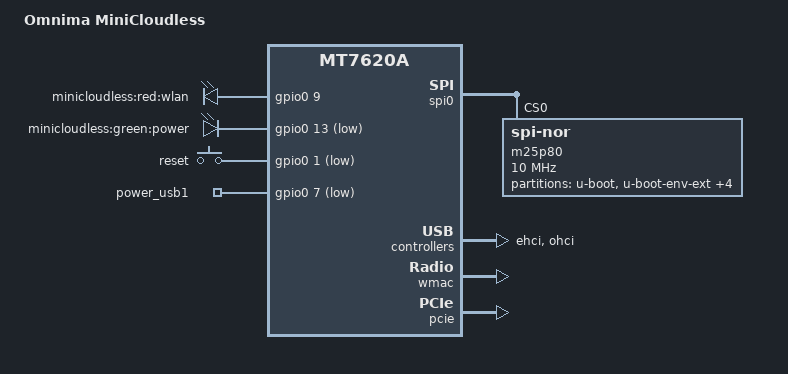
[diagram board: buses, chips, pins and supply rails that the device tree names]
/dts-v1/;

#include "mt7620a.dtsi"

#include <dt-bindings/gpio/gpio.h>
#include <dt-bindings/input/input.h>

/ {
	compatible = "minicloudless", "ralink,mt7620a-soc";
	model = "Omnima MiniCloudless";
		
	chosen {
		bootargs = "console=ttyS0,57600";
	};

	gpio-leds {
		compatible = "gpio-leds";

		wlan {
			label = "minicloudless:red:wlan";
			gpios = <&gpio0 9 GPIO_ACTIVE_HIGH>;
		};

		power {
			label = "minicloudless:green:power";
			gpios = <&gpio0 13 GPIO_ACTIVE_LOW>;
		};
	};

	gpio-keys-polled {
		compatible = "gpio-keys-polled";
		#address-cells = <1>;
		#size-cells = <0>;
		poll-interval = <20>;
		reset {
			label = "reset";
			gpios = <&gpio0 1 GPIO_ACTIVE_LOW>;
			linux,code = <KEY_RESTART>;
		};
	};
	
	gpio_export {
		compatible = "gpio-export";
		#size-cells = <0>;

		power_usb {
			gpio-export,name = "power_usb1";
			gpio-export,output = <1>;
			gpios = <&gpio0 7 GPIO_ACTIVE_LOW>;
		};
	};
};

&gpio1 {
	status = "okay";
};

&gpio2 {
	status = "okay";
};

&gpio3 {
	status = "okay";
};

&spi0 {
	status = "okay";

	m25p80@0 {
		#address-cells = <1>;
		#size-cells = <1>;
		compatible = "jedec,spi-nor";
		reg = <0>;
		spi-max-frequency = <10000000>;

		partition@0 {
			label = "u-boot";
			reg = <0x0 0x20000>;
			read-only;
		};

		partition@20000 {
			label = "u-boot-env-ext";
			reg = <0x20000 0x10000>;
		};

		partition@30000 {
			label = "u-boot-env";
			reg = <0x30000 0x2000>;
			read-only;
		};
				
		partition@32000 {
			label = "u-boot-env+ext";
			reg = <0x32000 0xE000>;
		};
				
		factory: partition@40000 {
			label = "factory";
			reg = <0x40000 0x10000>;
			read-only;
		};

		partition@50000 {
			label = "firmware";
			reg = <0x50000 0xfb0000>;
		};
	};
};

&pinctrl {
	state_default: pinctrl0 {
		default {
		ralink,group = "wled", "i2c", "wdt", "uartf", "rgmii2";
		ralink,function = "gpio";
		};
		
		pa {
			ralink,group = "pa";
			ralink,function = "pa";
		};
	};
};

&ethernet {	
	pinctrl-names = "default";
	pinctrl-0 = <&ephy_pins>;
	mtd-mac-address = <&factory 0x4>;
	ralink,port-map = "llllw";
};

&ehci {
	status = "okay";
};

&ohci {
	status = "okay";
};

&wmac {
	ralink,mtd-eeprom = <&factory 0>;
};

&pcie {
	status = "okay";

	pcie-bridge {
		mt76@0,0 {
			reg = <0x0000 0 0 0 0>;
			device_type = "pci";    
			mediatek,mtd-eeprom = <&factory 0x8000>;
			mediatek,5ghz = <0>;
			ieee80211-freq-limit = <5000000 6000000>;
		};
	};
};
